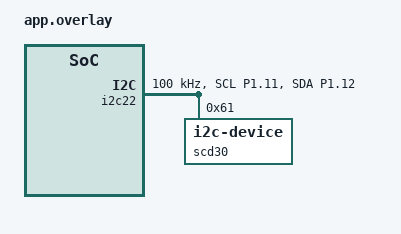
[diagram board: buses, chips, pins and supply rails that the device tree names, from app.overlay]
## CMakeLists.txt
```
cmake_minimum_required(VERSION 3.20.0)
find_package(Zephyr REQUIRED HINTS $ENV{ZEPHYR_BASE})
project(DHT11)

target_sources(app PRIVATE 
        src/main.c
        src/DHT11.c
        src/bluetooth.c
        #src/SCD30.c
        src/pir.c
        src/uart.c
        src/s30.c
        )
```

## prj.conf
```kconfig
CONFIG_GPIO=y

# Logging
CONFIG_PRINTK=y
CONFIG_CONSOLE=y
CONFIG_UART_CONSOLE=y
CONFIG_LOG=y
CONFIG_LOG_MODE_IMMEDIATE=y

# PWM
CONFIG_PWM=y
CONFIG_PWM_LOG_LEVEL_INF=y

# BLE
CONFIG_SERIAL=y
CONFIG_UART_ASYNC_API=y
CONFIG_BT=y
CONFIG_BT_PERIPHERAL=y
CONFIG_BT_OBSERVER=y
CONFIG_BT_DEVICE_NAME="smartChicken"

# I2C
CONFIG_I2C=y
CONFIG_CBPRINTF_FP_SUPPORT=y #handling float for special I2C, temporary
```

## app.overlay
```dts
&i2c22 {
    status = "okay";
    pinctrl-0 = <&i2c22_default>;
    pinctrl-1 = <&i2c22_sleep>;
    pinctrl-names = "default", "sleep";
    clock-frequency = <100000>; /* 100 kHz */

    scd30: scd30@61 {
        compatible = "i2c-device";
        reg = <0x61>;
        status = "okay";
    };
};

&pinctrl {
    i2c22_default: i2c22_default {
        group1 {
            psels = <NRF_PSEL(TWIM_SCL, 1, 11)>,
                    <NRF_PSEL(TWIM_SDA, 1, 12)>;
        };
    };
    i2c22_sleep: i2c22_sleep {
        group1 {
            psels = <NRF_PSEL(TWIM_SCL, 1, 11)>,
                    <NRF_PSEL(TWIM_SDA, 1, 12)>;
            low-power-enable;
        };
    };
};
```

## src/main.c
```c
/*******************************************************************************/
/*::::'######::'##::::'##:'####::'######::'##:::'##:'########:'##::: ##::::::::*/
/*:::'##... ##: ##:::: ##:. ##::'##... ##: ##::'##:: ##.....:: ###:: ##::::::::*/
/*::: ##:::..:: ##:::: ##:: ##:: ##:::..:: ##:'##::: ##::::::: ####: ##::::::::*/
/*::: ##::::::: #########:: ##:: ##::::::: #####:::: ######::: ## ## ##::::::::*/
/*::: ##::::::: ##.... ##:: ##:: ##::::::: ##. ##::: ##...:::: ##. ####::::::::*/
/*::: ##::: ##: ##:::: ##:: ##:: ##::: ##: ##:. ##:: ##::::::: ##:. ###::::::::*/
/*:::. ######:: ##:::: ##:'####:. ######:: ##::. ##: ########: ##::. ##::::::::*/
/*::::......:::..:::::..::....:::......:::..::::..::........::..::::..:::::::::*/
/*::::'######:::'#######:::'#######::'########:::::main.c::::::::::::::::::::::*/
/*:::'##... ##:'##.... ##:'##.... ##: ##.... ##::::::::::::::::::::::::::::::::*/
/*::: ##:::..:: ##:::: ##: ##:::: ##: ##:::: ##::::Author: a6a9aia:::::::::::::*/
/*::: ##::::::: ##:::: ##: ##:::: ##: ########:::::<a5a8ahaiac@proton.me>::::::*/
/*::: ##::::::: ##:::: ##: ##:::: ##: ##.....::::::::::::::::::::::::::::::::::*/
/*::: ##::: ##: ##:::: ##: ##:::: ##: ##:::::::::::Created: 2025/09/01:::::::::*/
/*:::. ######::. #######::. #######:: ##:::::::::::Updated: 2026/01/10:::::::::*/
/*::::......::::.......::::.......:::..::::::::::::::::::::::::::::::::::::::::*/
/*******************************************************************************/

#include "DHT11.h"
#include "pir.h"
#include "s30.h"
//#include "SCD30.h"
#include "bluetooth.h"
#include "uart.h"

#include <zephyr/kernel.h>
#include <zephyr/logging/log.h>

LOG_MODULE_REGISTER(main, LOG_LEVEL_INF);

// Sensor workqueue (periodic)
#define SENSOR_WQ_STACK_SIZE                    1024
#define SENSOR_WQ_PRIORITY                      5
K_THREAD_STACK_DEFINE(sensor_stack_area, SENSOR_WQ_STACK_SIZE);
struct k_work_q sensor_wq;

// Critical workqueue
#define CRITICAL_WQ_STACK_SIZE                  1024
#define CRITICAL_WQ_PRIORITY                    -4
K_THREAD_STACK_DEFINE(critical_stack_area, CRITICAL_WQ_STACK_SIZE);
struct k_work_q critical_wq;

// Definition of dht11_periodic_work
K_WORK_DELAYABLE_DEFINE(dht11_periodic_work, dht11_periodic_work_handler);
K_WORK_DELAYABLE_DEFINE(s30_periodic_work, s30_periodic_work_handler);
//K_WORK_DELAYABLE_DEFINE(scd30_periodic_work, scd30_periodic_work_handler);

int main(void){
    if (bluetooth_init() < 0){
        LOG_ERR("Bluetooth init failed");
    }
    if (dht11_init() < 0){
        LOG_ERR("DHT11 init failed!");
    }
    if (pir_init() < 0){
        LOG_ERR("PIR init failed!");
    }
    if (s30_init() < 0){
        LOG_ERR("S30 init failed!");
    }
    //if (scd30_init() < 0){
    //    LOG_ERR("SCD30 init failed!");
    //} else {
    //    k_work_schedule_for_queue(&sensor_wq, &scd30_periodic_work, K_SECONDS(4));
    //}

    // Workqueues initialisation
    k_work_queue_start(&sensor_wq, sensor_stack_area,
                       K_THREAD_STACK_SIZEOF(sensor_stack_area),
                       SENSOR_WQ_PRIORITY, NULL);
    k_work_queue_start(&critical_wq, critical_stack_area,
                       K_THREAD_STACK_SIZEOF(critical_stack_area),
                       CRITICAL_WQ_PRIORITY, NULL);
    LOG_INF("Workqueues started (sensor=%d, critical=%d)", SENSOR_WQ_PRIORITY, CRITICAL_WQ_PRIORITY);

    if (uart_init() < 0){
        LOG_ERR("UART init failed!");
    } else {
        LOG_INF("UART initialized successfully");
    }

    if (fan_control_init() < 0){
        LOG_ERR("Fan control init failed!");
    }
    // Scheduling periodic_sensors_works
    k_work_schedule_for_queue(&sensor_wq, &dht11_periodic_work, K_SECONDS(3));
    k_work_schedule_for_queue(&sensor_wq, &s30_periodic_work, K_SECONDS(7));
    k_work_schedule_for_queue(&sensor_wq, &pir_work, K_MSEC(MEASURE_PIR_PERIOD_MS));

    while(1){
        k_sleep(K_SECONDS(10));
    }
}
```

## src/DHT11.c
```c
#include "DHT11.h"
#include "bluetooth.h"

LOG_MODULE_REGISTER(dht11, LOG_LEVEL_INF);

#define FAN_PWM_NODE                DT_ALIAS(pwm_led0)
static const struct pwm_dt_spec fan_pwm = PWM_DT_SPEC_GET(FAN_PWM_NODE);

static const struct device *dht_gpio = NULL;
int DHT11_corrected_temperature = 20;
uint32_t duty_cycle;
bool previous_fan_state = true;

extern struct k_work_q sensor_wq;
extern struct k_work_q critical_wq;

K_WORK_DEFINE(fan_control_work, fan_control_work_handler);

void fan_control_work_handler(struct k_work *work){
    int ret = pwm_set_dt(&fan_pwm, PWM_USEC(PWM_PERIOD_USEC), PWM_USEC(duty_cycle));
    if (ret < 0) {
        LOG_ERR("pwm_set_dt() failed: %d", ret);
    } else {
        LOG_INF("Fan PWM updated: %s", duty_cycle ? "ON (100%)" : "OFF (0%)");
    }
}

int fan_control_init(void){
    if (!device_is_ready(fan_pwm.dev)) {
        LOG_ERR("PWM device not ready");
        return -1;
    }
    LOG_INF("Fan PWM initialized");
    return 0;
}

int dht11_init(void){
    dht_gpio = DEVICE_DT_GET(DHT_PORT);
    if (!device_is_ready(dht_gpio)) {
        LOG_ERR("DHT11 GPIO not ready!");
        return -1;
    }
    LOG_INF("DHT11 initialized on pin %d", DHT_PIN);
    return 0;
}

int dht11_read(uint8_t data[5]){
    int i, j;
    uint32_t start;
    for (i = 0; i < 5; i++)
        data[i] = 0;

    gpio_pin_configure(dht_gpio, DHT_PIN, GPIO_OUTPUT);
    gpio_pin_set(dht_gpio, DHT_PIN, 0);
    k_msleep(20);
    gpio_pin_set(dht_gpio, DHT_PIN, 1);
    k_busy_wait(30);
    gpio_pin_configure(dht_gpio, DHT_PIN, GPIO_INPUT | GPIO_PULL_UP);

    start = k_cycle_get_32();
    while (gpio_pin_get(dht_gpio, DHT_PIN)){
        if (k_cyc_to_us_floor32(k_cycle_get_32() - start) > 100)
            return -1;
    }
    while (!gpio_pin_get(dht_gpio, DHT_PIN));
    while (gpio_pin_get(dht_gpio, DHT_PIN));

    for (i = 0; i < 40; i++){
        while (!gpio_pin_get(dht_gpio, DHT_PIN));
        start = k_cycle_get_32();
        while (gpio_pin_get(dht_gpio, DHT_PIN));
        uint32_t pulse = k_cyc_to_us_floor32(k_cycle_get_32() - start);
        j = i / 8;
        data[j] <<= 1;
        if (pulse > 50)
            data[j] |= 1;
    }
    if (((data[0] + data[1] + data[2] + data[3]) & 0xFF) != data[4])
        return -2;

    return 0;
}

// DHT11 work handler
void dht11_periodic_work_handler(struct k_work *work){
    uint8_t buf[5];
    int ret = dht11_read(buf);
    extern struct k_work_delayable dht11_periodic_work;

    if (ret == 0) {
        int humidity = buf[0];
        int temperature = buf[2];
        DHT11_corrected_temperature = temperature - 1;
        LOG_INF("Humidity: %d %% | Temp: %d °C", humidity, DHT11_corrected_temperature);

        // Update BLE Temp bit based strictly on Upper Threshold
        if (DHT11_corrected_temperature > FAN_THRESHOLD_TEMP_SUP) {
             ble_update_bit_trigger(BLE_PAQUET_TEMP_BIT, 1);
        } else {
             ble_update_bit_trigger(BLE_PAQUET_TEMP_BIT, 0);
        }

        // Fan Control Logic (Maintained existing hysteresis for fan)
        if (DHT11_corrected_temperature >= FAN_THRESHOLD_TEMP_SUP && !previous_fan_state){
            duty_cycle = PWM_PERIOD_USEC;
            k_work_submit_to_queue(&critical_wq, &fan_control_work);
            previous_fan_state = true;

        } else if (DHT11_corrected_temperature < FAN_THRESHOLD_TEMP_SUP && DHT11_corrected_temperature > FAN_THRESHOLD_TEMP_INF && previous_fan_state) {
            duty_cycle = 0;
            k_work_submit_to_queue(&critical_wq, &fan_control_work);
            previous_fan_state = false;

        } else if (DHT11_corrected_temperature <= FAN_THRESHOLD_TEMP_INF) {
             // cold case: fan off if it was on
            if (previous_fan_state){
                duty_cycle = 0;
                k_work_submit_to_queue(&critical_wq, &fan_control_work);
                previous_fan_state = false;
            }
        }
    } else {
        LOG_WRN("Failed to read DHT11 (err %d)", ret);
    }
    k_work_schedule_for_queue(&sensor_wq, &dht11_periodic_work, K_MSEC(MEASURE_DHT11_PERIOD_MS));
}
```

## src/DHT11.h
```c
#ifndef DHT11_H
#define DHT11_H

#include <zephyr/kernel.h>
#include <zephyr/device.h>
#include <zephyr/sys/util.h>
#include <zephyr/drivers/pwm.h>
#include <zephyr/drivers/gpio.h>
#include <zephyr/logging/log.h>
#include <stdint.h>

#define DHT_PORT                        DT_NODELABEL(gpio0)
#define DHT_PIN                         4
#define MEASURE_DHT11_PERIOD_MS         5000

#define FAN_THRESHOLD_TEMP_SUP          23
#define FAN_THRESHOLD_TEMP_INF          -5
#define PWM_PERIOD_USEC                 40

#define BLE_PAQUET_TEMP_BIT             0
#define BLE_PAQUET_GAS_BIT              1
#define BLE_PAQUET_ATTACK_BIT           2

//Functions
int dht11_init(void);
int fan_control_init(void);
int dht11_read(uint8_t data[5]);
void dht11_periodic_work_handler(struct k_work *work);
void fan_control_work_handler(struct k_work *work);

#endif
```

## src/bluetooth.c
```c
#include "bluetooth.h"

LOG_MODULE_REGISTER(bluetooth, LOG_LEVEL_INF);

extern struct k_work_q critical_wq;
static bool ble_adv_running = false;

static struct bt_le_adv_param adv_param = {
    .id = BT_ID_DEFAULT,
    .sid = 0,
    .interval_min = BT_GAP_ADV_FAST_INT_MIN_2,
    .interval_max = BT_GAP_ADV_FAST_INT_MAX_2,
    .options = BT_LE_ADV_OPT_CONNECTABLE,
};

int bluetooth_init(void){
    return bt_enable(NULL);
}

K_WORK_DELAYABLE_DEFINE(ble_stop_alerte_work, ble_stop_alerte_handler);

void ble_stop_alerte_handler(struct k_work *work){
    bt_le_adv_stop();
    ble_adv_running = false;
    LOG_INF("Advertising stopped.");
}

static ble_custom_data mfg_data = {
    .company_id = 0xAFFF,
    .payload = 0,
};
static ble_custom_data mfg_data_t = {
    .company_id = 0xAFFF,
    .payload = 1,
};
static ble_custom_data mfg_data_g = {
    .company_id = 0xAFFF,
    .payload = 2,
};
static ble_custom_data mfg_data_t_g = {
    .company_id = 0xAFFF,
    .payload = 3,
};

static struct bt_data adv_data[] = {
    BT_DATA_BYTES(BT_DATA_FLAGS, (BT_LE_AD_GENERAL | BT_LE_AD_NO_BREDR)),
    BT_DATA(BT_DATA_NAME_COMPLETE, CONFIG_BT_DEVICE_NAME, sizeof(CONFIG_BT_DEVICE_NAME) - 1),
    BT_DATA(BT_DATA_MANUFACTURER_DATA, &mfg_data, 3),
};
static struct bt_data adv_data_t[] = {
    BT_DATA_BYTES(BT_DATA_FLAGS, (BT_LE_AD_GENERAL | BT_LE_AD_NO_BREDR)),
    BT_DATA(BT_DATA_NAME_COMPLETE, CONFIG_BT_DEVICE_NAME, sizeof(CONFIG_BT_DEVICE_NAME) - 1),
    BT_DATA(BT_DATA_MANUFACTURER_DATA, &mfg_data_t, 3),
};
static struct bt_data adv_data_g[] = {
    BT_DATA_BYTES(BT_DATA_FLAGS, (BT_LE_AD_GENERAL | BT_LE_AD_NO_BREDR)),
    BT_DATA(BT_DATA_NAME_COMPLETE, CONFIG_BT_DEVICE_NAME, sizeof(CONFIG_BT_DEVICE_NAME) - 1),
    BT_DATA(BT_DATA_MANUFACTURER_DATA, &mfg_data_g, 3),
};
static struct bt_data adv_data_t_g[] = {
    BT_DATA_BYTES(BT_DATA_FLAGS, (BT_LE_AD_GENERAL | BT_LE_AD_NO_BREDR)),
    BT_DATA(BT_DATA_NAME_COMPLETE, CONFIG_BT_DEVICE_NAME, sizeof(CONFIG_BT_DEVICE_NAME) - 1),
    BT_DATA(BT_DATA_MANUFACTURER_DATA, &mfg_data_t_g, 3),
};

static uint8_t current_temp = 0;
static uint8_t current_gaz = 0;
static uint8_t current_attack = 0;

void ble_send_alert(uint8_t temp, uint8_t gaz, uint8_t attack){
    int err;

    if (ble_adv_running) {
        bt_le_adv_stop();
    }

    if (temp == 0 && gaz == 0){
        err = bt_le_adv_start(&adv_param, adv_data, ARRAY_SIZE(adv_data), NULL, 0);
    } else if (temp > 0 && gaz == 0){
        err = bt_le_adv_start(&adv_param, adv_data_t, ARRAY_SIZE(adv_data_t), NULL, 0);
    } else if (temp == 0 && gaz > 0){
        err = bt_le_adv_start(&adv_param, adv_data_g, ARRAY_SIZE(adv_data_g), NULL, 0);
    } else if (temp > 0 && gaz > 0){
        err = bt_le_adv_start(&adv_param, adv_data_t_g, ARRAY_SIZE(adv_data_t_g), NULL, 0);
    }
    LOG_INF("BLE alert sent: temp=%d gaz=%d attack=%d", temp, gaz, attack);
    if (err) {
        LOG_ERR("BLE adv start failed (%d)", err);
        return;
    }
    ble_adv_running = true;
}

void ble_update_bit_trigger(uint8_t bit, uint8_t value) {
    switch (bit) {
        case 0: // BLE_PAQUET_TEMP_BIT
            current_temp = value;
            break;
        case 1: // BLE_PAQUET_GAS_BIT
            current_gaz = value;
            break;
        case 2: // BLE_PAQUET_ATTACK_BIT
            current_attack = value;
            break;
        default:
            LOG_WRN("Unknown BLE bit: %d", bit);
            return;
    }
    ble_send_alert(current_temp, current_gaz, current_attack);
}
```

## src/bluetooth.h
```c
#ifndef BLUETOOTH_H
#define BLUETOOTH_H

#include <zephyr/kernel.h>
#include <zephyr/logging/log.h>
#include <zephyr/bluetooth/bluetooth.h>
#include <zephyr/bluetooth/hci.h>
#include <zephyr/bluetooth/gap.h>
#include <zephyr/bluetooth/uuid.h>

#define ADV_DURATION_MS 60000

int bluetooth_init(void);
void ble_send_alert(uint8_t temp, uint8_t gaz, uint8_t attack);

// Custom function to update specific alert bits
void ble_update_bit_trigger(uint8_t bit, uint8_t value);

void ble_stop_alerte_handler(struct k_work *work);

typedef struct {
    uint16_t company_id;
    uint8_t payload;
} ble_custom_data;



#endif
```

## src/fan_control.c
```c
#include "fan_control.h"
#include "DHT11.h"

LOG_MODULE_REGISTER(fan_control, LOG_LEVEL_INF);

#define FAN_PWM_NODE DT_ALIAS(pwm_led0)

static const struct pwm_dt_spec fan_pwm = PWM_DT_SPEC_GET(FAN_PWM_NODE);
#define PWM_PERIOD_USEC 40    // Frequency of PWM = 25 kHz
#define FAN_THRESHOLD_TEMP 23
#define FAN_UPDATE_INTERVAL_MS 10000

extern struct k_work_q sensor_wq;

// Fan_control work handler
static void fan_control_work_handler(struct k_work *work);
K_WORK_DELAYABLE_DEFINE(fan_control_work, fan_control_work_handler);

static void fan_control_work_handler(struct k_work *work){
    uint32_t duty_cycle = 0;
    if (DHT11_corrected_temperature > FAN_THRESHOLD_TEMP) {
        duty_cycle = PWM_PERIOD_USEC;
        LOG_INF("Temp = %d°C → Fan ON (100%% duty)", DHT11_corrected_temperature);
    } else {
        duty_cycle = 0;
        LOG_INF("Temp = %d°C → Fan OFF", DHT11_corrected_temperature);
    }

    int ret = pwm_set_dt(&fan_pwm, PWM_USEC(PWM_PERIOD_USEC), PWM_USEC(duty_cycle));
    if (ret < 0) {
        LOG_ERR("pwm_set_dt() failed: %d", ret);
    }

    // Fan_control scheduling in workqueues
    k_work_schedule_for_queue(&sensor_wq, &fan_control_work, K_MSEC(FAN_UPDATE_INTERVAL_MS));
}
// Definition of fan_control initialisation
int fan_control_init(void){
    if (!device_is_ready(fan_pwm.dev)){
        LOG_ERR("PWM device not ready");
        return -1;
    }
    LOG_INF("Fan PWM initialized (threshold = %d°C)", FAN_THRESHOLD_TEMP);

    // Fist scheduling of dht11_periodic_work
    k_work_schedule_for_queue(&sensor_wq, &fan_control_work, K_NO_WAIT);
    return 0;
}
```

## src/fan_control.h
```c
#ifndef FAN_CONTROL_H
#define FAN_CONTROL_H

#include <zephyr/kernel.h>
#include <zephyr/device.h>
#include <zephyr/drivers/pwm.h>
#include <zephyr/logging/log.h>
#include <stdint.h>

int fan_control_init(void);

#endif
```

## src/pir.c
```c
#include "pir.h"

LOG_MODULE_REGISTER(pir, LOG_LEVEL_INF);

static const struct device *pir_gpio = NULL;
extern struct k_work_q sensor_wq;
void pir_work_handler(struct k_work *work);

K_WORK_DELAYABLE_DEFINE(pir_work, pir_work_handler);

int pir_init(void){
    int ret;
    pir_gpio = DEVICE_DT_GET(PIR_PORT);
    if (!device_is_ready(pir_gpio)){
        LOG_ERR("Error: PIR Sensor GPIO device is not ready");
        return -ENODEV;
    }
    ret = gpio_pin_configure(pir_gpio, PIR_PIN, GPIO_INPUT | GPIO_PULL_DOWN);
    if (ret != 0){
        LOG_ERR("Error %d: failed to configure PIR pin %d", ret, PIR_PIN);
        return ret;
    }

    LOG_INF("PIR sensor initialized on pin %d (Polling Mode)", PIR_PIN);
    return 0;
}

int pir_read(void){
    int val = gpio_pin_get(pir_gpio, PIR_PIN);
    if (val < 0){
        LOG_ERR("Error reading PIR sensor: %d", val);
    }
    return val;
}

void pir_work_handler(struct k_work *work){
    int motion = pir_read();
    if (motion > 0){
        LOG_INF("mouvement detecte : %d", motion);
    } else if (motion == 0){
        LOG_INF("pas de mouvement : %d", motion);
    }
    k_work_schedule_for_queue(&sensor_wq, &pir_work, K_MSEC(MEASURE_PIR_PERIOD_MS));
}
```

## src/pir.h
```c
#ifndef PIR_H
#define PIR_H

#include <zephyr/kernel.h>
#include <zephyr/drivers/gpio.h>
#include <zephyr/logging/log.h>

#define PIR_PORT                        DT_NODELABEL(gpio1)
#define PIR_PIN                         8
#define MEASURE_PIR_PERIOD_MS           2500

int pir_init(void);
int pir_read(void);

extern struct k_work_delayable pir_work;

#endif // PIR_H
```

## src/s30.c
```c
#include "s30.h"
#include "bluetooth.h"
#include <string.h>

LOG_MODULE_REGISTER(s30, LOG_LEVEL_INF);

#define SCD30_NODE DT_NODELABEL(scd30)
static const struct i2c_dt_spec scd30_dev = I2C_DT_SPEC_GET(SCD30_NODE);

extern struct k_work_q sensor_wq;

// CRC-8 calculation (Sensirion polynomial 0x31, init 0xFF)
uint8_t scd30_calculate_crc(const uint8_t *data, size_t len) {
    uint8_t crc = 0xFF;
    for (size_t i = 0; i < len; i++) {
        crc ^= data[i];
        for (int b = 0; b < 8; b++) {
            if (crc & 0x80) {
                crc = (crc << 1) ^ 0x31;
            } else {
                crc <<= 1;
            }
        }
    }
    return crc;
}

// Low-level helper: write a 16-bit command to SCD30
static int scd30_write_command(const struct i2c_dt_spec *dev, uint16_t command) {
    uint8_t buf[2] = {command >> 8, command & 0xFF};
    return i2c_write_dt(dev, buf, sizeof(buf));
}

// Low-level helper: write a 16-bit command with a 16-bit argument and CRC to SCD30
static int scd30_write_command_with_arg(const struct i2c_dt_spec *dev, uint16_t command, uint16_t arg) {
    uint8_t buf[5];
    buf[0] = command >> 8;
    buf[1] = command & 0xFF;
    buf[2] = arg >> 8;
    buf[3] = arg & 0xFF;
    buf[4] = scd30_calculate_crc(&buf[2], 2);
    return i2c_write_dt(dev, buf, sizeof(buf));
}

// Low-level helper: write a command and read response bytes (without repeated start, using delay)
static int scd30_read_data(const struct i2c_dt_spec *dev, uint16_t command, uint8_t *data, size_t len) {
    int ret;
    uint8_t cmd_buf[2] = {command >> 8, command & 0xFF};
    
    ret = i2c_write_dt(dev, cmd_buf, sizeof(cmd_buf));
    if (ret < 0) {
        return ret;
    }
    
    // SCD30 requires a short delay to process and prepare response data
    k_msleep(5);
    
    return i2c_read_dt(dev, data, len);
}

// Check if a new measurement is available
static int scd30_is_data_ready(const struct i2c_dt_spec *dev, bool *ready) {
    uint8_t buf[3];
    int ret = scd30_read_data(dev, SCD30_CMD_DATA_READY, buf, sizeof(buf));
    if (ret < 0) {
        return ret;
    }
    
    // Check CRC-8
    if (scd30_calculate_crc(buf, 2) != buf[2]) {
        LOG_ERR("SCD30 Data Ready CRC error!");
        return -EBADMSG;
    }
    
    uint16_t status = ((uint16_t)buf[0] << 8) | buf[1];
    *ready = (status == 1);
    return 0;
}

// Read the latest CO2, Temperature, and Humidity measurements
static int scd30_read_measurement(const struct i2c_dt_spec *dev, float *co2, float *temp, float *hum) {
    uint8_t buf[18];
    int ret = scd30_read_data(dev, SCD30_CMD_READ_MEAS, buf, sizeof(buf));
    if (ret < 0) {
        return ret;
    }
    
    // Validate CRCs of the 6 data blocks (each block is 2 bytes of data + 1 byte CRC)
    for (int i = 0; i < 18; i += 3) {
        if (scd30_calculate_crc(&buf[i], 2) != buf[i + 2]) {
            LOG_ERR("SCD30 Measurement CRC error at index %d!", i);
            return -EBADMSG;
        }
    }
    
    // Reconstruct CO2 (32-bit float)
    uint32_t co2_bin = ((uint32_t)buf[0] << 24) | ((uint32_t)buf[1] << 16) | ((uint32_t)buf[3] << 8) | buf[4];
    memcpy(co2, &co2_bin, sizeof(float));
    
    // Reconstruct Temperature (32-bit float)
    uint32_t temp_bin = ((uint32_t)buf[6] << 24) | ((uint32_t)buf[7] << 16) | ((uint32_t)buf[9] << 8) | buf[10];
    memcpy(temp, &temp_bin, sizeof(float));
    
    // Reconstruct Humidity (32-bit float)
    uint32_t hum_bin = ((uint32_t)buf[12] << 24) | ((uint32_t)buf[13] << 16) | ((uint32_t)buf[15] << 8) | buf[16];
    memcpy(hum, &hum_bin, sizeof(float));
    
    return 0;
}

// Initialize the SCD30 sensor and start continuous measurement
int s30_init(void) {
    if (!device_is_ready(scd30_dev.bus)) {
        LOG_ERR("SCD30 I2C bus device not ready!");
        return -ENODEV;
    }
    
    // Give the sensor time to start up completely
    k_msleep(100);
    
    // Trigger continuous measurement without pressure compensation (0 mbar argument)
    int ret = scd30_write_command_with_arg(&scd30_dev, SCD30_CMD_TRIGGER_MEAS, 0);
    if (ret < 0) {
        LOG_ERR("Failed to start SCD30 continuous measurement: %d", ret);
        return ret;
    }
    
    LOG_INF("SCD30 CO2 sensor initialized and continuous measurement started");
    return 0;
}

// Periodic workqueue handler
void s30_periodic_work_handler(struct k_work *work) {
    extern struct k_work_delayable s30_periodic_work;
    bool ready = false;
    
    int ret = scd30_is_data_ready(&scd30_dev, &ready);
    if (ret == 0 && ready) {
        float co2 = 0.0f;
        float temp = 0.0f;
        float hum = 0.0f;
        
        ret = scd30_read_measurement(&scd30_dev, &co2, &temp, &hum);
        if (ret == 0) {
            LOG_INF("CO2: %.1f ppm | Temp: %.1f °C | Hum: %.1f %%", co2, temp, hum);
            
            // Trigger BLE alert if CO2 PPM level exceeds 1000
            if (co2 > 1000.0f) {
                ble_update_bit_trigger(1, 1);
            } else {
                ble_update_bit_trigger(1, 0);
            }
        } else {
            LOG_WRN("Failed to read SCD30 measurement (err %d)", ret);
        }
    } else if (ret < 0) {
        LOG_WRN("Failed to check SCD30 data ready status (err %d)", ret);
    } else {
        // Data not ready yet, standard behavior, wait for next period
        LOG_DBG("SCD30 data not ready yet");
    }
    
    k_work_schedule_for_queue(&sensor_wq, &s30_periodic_work, K_MSEC(MEASURE_S30_PERIOD_MS));
}
```

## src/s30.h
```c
#ifndef S30_H
#define S30_H

#include <zephyr/kernel.h>
#include <zephyr/device.h>
#include <zephyr/drivers/i2c.h>
#include <zephyr/logging/log.h>
#include <stdint.h>

#define MEASURE_S30_PERIOD_MS         5000

// SCD30 I2C commands
#define SCD30_CMD_TRIGGER_MEAS 0x0010
#define SCD30_CMD_DATA_READY   0x0202
#define SCD30_CMD_READ_MEAS    0x0300

// Functions
int s30_init(void);
void s30_periodic_work_handler(struct k_work *work);

// CRC-8 calculation helper
uint8_t scd30_calculate_crc(const uint8_t *data, size_t len);

#endif // S30_H
```

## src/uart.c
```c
#include "uart.h"

LOG_MODULE_REGISTER(uart_custom, LOG_LEVEL_INF);

/* Using uart20 on nRF54L15DK:
 * RX: P1.05
 * TX: P1.04 */

#define UART_DEVICE_NODE DT_NODELABEL(uart20)
static const struct device *uart_dev = DEVICE_DT_GET(UART_DEVICE_NODE);

static uint8_t rx_buf[RECEIVE_BUFF_SIZE] = {0};

static void uart_cb(const struct device *dev, struct uart_event *evt, void *user_data){
    switch (evt->type) {
    case UART_RX_RDY:
        if (evt->data.rx.len > 0) {
            LOG_INF("UART Received %d bytes", evt->data.rx.len);
            for (int i = 0; i < evt->data.rx.len; i++) {
                uint8_t byte = evt->data.rx.buf[evt->data.rx.offset + i];
                LOG_INF("Byte: %c (0x%02X)", byte, byte);
            }
        }
        break;
    case UART_RX_DISABLED:
        uart_rx_enable(dev, rx_buf, sizeof(rx_buf), RECEIVE_TIMEOUT);
        break;

    default:
        break;
    }
}

int uart_init(void){
    int ret;
    if (!device_is_ready(uart_dev)) {
        LOG_ERR("UART device not ready");
        return -ENODEV;
    }
    ret = uart_callback_set(uart_dev, uart_cb, NULL);
    if (ret) {
        LOG_ERR("Error setting UART callback: %d", ret);
        return ret;
    }
    ret = uart_rx_enable(uart_dev, rx_buf, sizeof(rx_buf), RECEIVE_TIMEOUT);
    if (ret) {
        LOG_ERR("Error enabling UART RX: %d", ret);
        return ret;
    }
    LOG_INF("UART initialized on %s", uart_dev->name);
    return 0;
}
```

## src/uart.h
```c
#ifndef UART_H
#define UART_H

#include <zephyr/kernel.h>
#include <zephyr/device.h>
#include <zephyr/drivers/uart.h>
#include <zephyr/logging/log.h>

#define RECEIVE_BUFF_SIZE 4
#define RECEIVE_TIMEOUT 1000

int uart_init(void);

#endif
```
